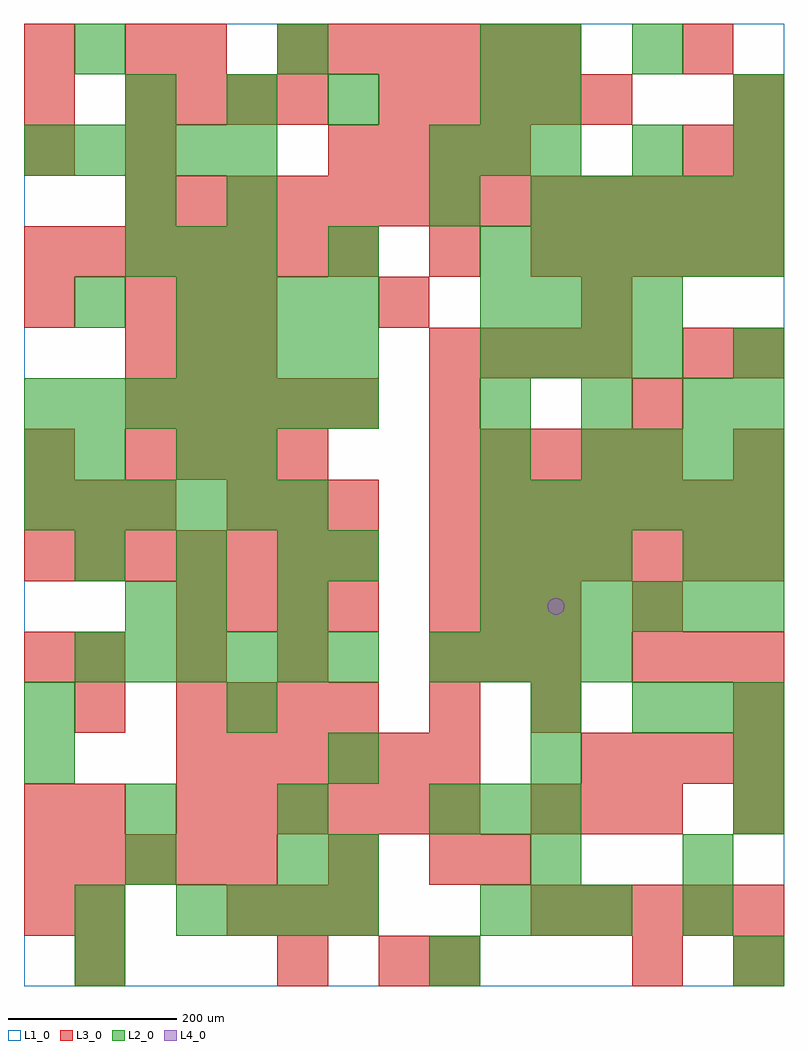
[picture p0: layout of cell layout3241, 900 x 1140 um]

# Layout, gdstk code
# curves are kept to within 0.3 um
import gdstk
lib = gdstk.Library(unit=1e-6, precision=1e-09)
def R(c, l, rs):  # rectangles x0, y0, x1, y1
    for r in rs: c.add(gdstk.rectangle(r[:2], r[2:], *l))
def A(c, l, x, y, w, h, nx, ny, dx, dy):  # array of equal rectangles
    R(c, l, [(x+i*dx, y+j*dy, x+i*dx+w, y+j*dy+h) for i in range(nx) for j in range(ny)])
def P(c, l, *ps):  # polygons
    for p in ps: c.add(gdstk.Polygon(p, *l))
L1_0 = (1, 0)
L2_0 = (2, 0)
L3_0 = (3, 0)
L4_0 = (4, 0)

layout3241 = lib.new_cell('layout3241')
R(layout3241, L1_0, [(0,0,900,1140)])
A(layout3241, L2_0, 180, 60, 60, 60, 4, 2, 60, 660)
A(layout3241, L2_0, 540, 60, 60, 60, 3, 2, 60, 420)
A(layout3241, L2_0, 360, 120, 60, 60, 1, 3, 0, 360)
A(layout3241, L2_0, 120, 180, 60, 60, 3, 1, 180, 0)
A(layout3241, L2_0, 540, 180, 60, 60, 1, 3, 0, 420)
A(layout3241, L2_0, 360, 240, 60, 60, 3, 1, 240, 0)
A(layout3241, L2_0, 240, 300, 60, 60, 1, 3, 0, 300)
A(layout3241, L2_0, 720, 300, 60, 60, 3, 1, 60, 0)
A(layout3241, L2_0, 60, 360, 60, 60, 6, 1, 60, 0)
A(layout3241, L2_0, 480, 360, 60, 60, 4, 1, 60, 0)
A(layout3241, L2_0, 540, 420, 60, 60, 6, 2, 60, 120)
A(layout3241, L2_0, 60, 480, 60, 60, 3, 1, 120, 0)
A(layout3241, L2_0, 0, 540, 60, 60, 6, 1, 60, 0)
A(layout3241, L2_0, 660, 600, 60, 60, 4, 1, 60, 0)
A(layout3241, L2_0, 0, 660, 60, 60, 7, 1, 60, 0)
A(layout3241, L2_0, 540, 660, 60, 60, 3, 1, 120, 0)
A(layout3241, L2_0, 540, 720, 60, 60, 4, 2, 60, 60)
A(layout3241, L2_0, 180, 780, 60, 60, 4, 1, 60, 0)
A(layout3241, L2_0, 120, 840, 60, 60, 3, 1, 60, 0)
A(layout3241, L2_0, 540, 840, 60, 60, 6, 1, 60, 0)
A(layout3241, L2_0, 600, 900, 60, 60, 5, 1, 60, 0)
A(layout3241, L2_0, 0, 960, 60, 60, 5, 1, 60, 0)
A(layout3241, L2_0, 480, 960, 60, 60, 3, 1, 60, 0)
A(layout3241, L2_0, 120, 1020, 60, 60, 3, 1, 120, 0)
A(layout3241, L2_0, 60, 1080, 60, 60, 3, 1, 240, 0)
R(layout3241, L2_0, [(60,0,120,60), (480,0,540,60), (840,0,900,60), (60,60,120,120), (780,60,840,120), (120,120,180,180), (300,120,360,180), (600,120,660,180), (780,120,840,180), (600,180,660,240), (840,180,900,240), (0,240,60,300), (0,300,60,360), (600,300,660,360), (120,420,180,480), (180,420,240,480), (300,420,360,480), (780,480,840,540), (840,480,900,540), (0,600,60,660), (60,600,120,660), (180,600,240,660), (840,660,900,720), (840,720,900,780), (60,780,120,840), (120,900,180,960), (480,900,540,960), (720,960,780,1020), (840,960,900,1020), (600,1020,660,1080), (840,1020,900,1080), (600,1080,660,1140), (720,1080,780,1140)])
A(layout3241, L3_0, 60, 60, 60, 60, 1, 3, 0, 120)
A(layout3241, L3_0, 240, 60, 60, 60, 3, 2, 60, 480)
A(layout3241, L3_0, 600, 60, 60, 60, 5, 2, 60, 780)
A(layout3241, L3_0, 0, 120, 60, 60, 5, 1, 60, 0)
A(layout3241, L3_0, 180, 180, 60, 60, 6, 2, 60, 60)
A(layout3241, L3_0, 600, 180, 60, 60, 3, 1, 60, 0)
A(layout3241, L3_0, 660, 240, 60, 60, 4, 1, 60, 0)
A(layout3241, L3_0, 180, 300, 60, 60, 4, 2, 60, 120)
A(layout3241, L3_0, 60, 360, 60, 60, 3, 1, 120, 0)
A(layout3241, L3_0, 480, 360, 60, 60, 3, 2, 60, 60)
A(layout3241, L3_0, 720, 360, 60, 60, 3, 1, 60, 0)
A(layout3241, L3_0, 0, 480, 60, 60, 7, 2, 60, 360)
A(layout3241, L3_0, 480, 480, 60, 60, 7, 2, 60, 60)
A(layout3241, L3_0, 0, 540, 60, 60, 3, 1, 60, 0)
A(layout3241, L3_0, 0, 600, 60, 60, 1, 3, 0, 180)
A(layout3241, L3_0, 120, 600, 60, 60, 4, 2, 60, 420)
A(layout3241, L3_0, 480, 600, 60, 60, 5, 1, 60, 0)
A(layout3241, L3_0, 120, 660, 60, 60, 5, 1, 60, 0)
A(layout3241, L3_0, 120, 720, 60, 60, 3, 2, 60, 60)
A(layout3241, L3_0, 480, 720, 60, 60, 4, 1, 60, 0)
A(layout3241, L3_0, 120, 900, 60, 60, 13, 1, 60, 0)
A(layout3241, L3_0, 360, 960, 60, 60, 4, 1, 60, 0)
A(layout3241, L3_0, 420, 1020, 60, 60, 5, 1, 60, 0)
A(layout3241, L3_0, 300, 1080, 60, 60, 6, 1, 60, 0)
R(layout3241, L3_0, [(60,0,120,60), (300,0,360,60), (420,0,480,60), (480,0,540,60), (720,0,780,60), (840,0,900,60), (0,60,60,120), (360,120,420,180), (480,120,540,180), (540,120,600,180), (0,180,60,240), (840,180,900,240), (480,300,540,360), (600,300,660,360), (840,300,900,360), (0,360,60,420), (720,420,780,480), (840,600,900,660), (480,660,540,720), (720,660,780,720), (780,720,840,780), (840,720,900,780), (420,780,480,840), (660,780,720,840), (480,840,540,900), (120,960,180,1020), (780,960,840,1020), (840,960,900,1020), (0,1020,60,1080), (840,1020,900,1080), (0,1080,60,1140), (120,1080,180,1140), (180,1080,240,1140), (780,1080,840,1140)])
P(layout3241, L4_0, [(640,450),(639.239,453.827),(637.071,457.071),(633.827,459.239),(630,460),(626.173,459.239),(622.929,457.071),(620.761,453.827),(620,450),(620.761,446.173),(622.929,442.929),(626.173,440.761),(630,440),(633.827,440.761),(637.071,442.929),(639.239,446.173)])

lib.write_gds('layout3241.gds')
